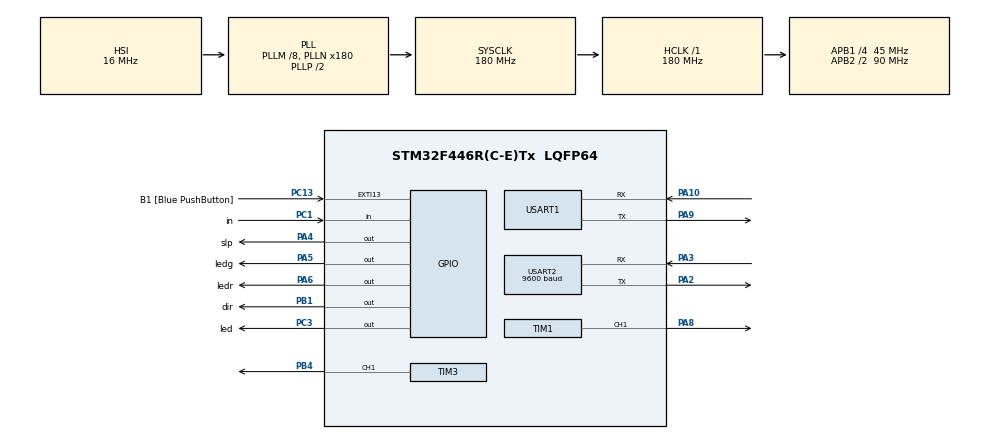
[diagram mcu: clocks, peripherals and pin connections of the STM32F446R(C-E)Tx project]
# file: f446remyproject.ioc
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Mcu.Family=STM32F4
Mcu.Name=STM32F446R(C-E)Tx
Mcu.Package=LQFP64
NVIC.PriorityGroup=NVIC_PRIORITYGROUP_0
PA10.Mode=Asynchronous
PA10.Signal=USART1_RX
PA13.GPIO_Label=TMS
PA13.Mode=Serial_Wire
PA13.Signal=SYS_JTMS-SWDIO
PA14.GPIO_Label=TCK
PA14.Mode=Serial_Wire
PA14.Signal=SYS_JTCK-SWCLK
PA2.Mode=Asynchronous
PA2.Signal=USART2_TX
PA3.Mode=Asynchronous
PA3.Signal=USART2_RX
PA4.GPIO_Label=slp
PA4.Signal=GPIO_Output
PA5.GPIO_Label=ledg
PA5.Signal=GPIO_Output
PA6.GPIO_Label=ledr
PA6.Signal=GPIO_Output
PA8.Signal=S_TIM1_CH1
PA9.Mode=Asynchronous
PA9.Signal=USART1_TX
PB1.GPIO_Label=dir
PB1.Signal=GPIO_Output
PB3.GPIO_Label=SWO
PB3.Signal=SYS_JTDO-SWO
PB4.Signal=S_TIM3_CH1
PC1.GPIO_Label=in
PC1.Signal=GPIO_Input
PC13.GPIO_Label=B1 [Blue PushButton]
PC13.GPIO_ModeDefaultEXTI=GPIO_MODE_IT_FALLING
PC13.Signal=GPXTI13
PC14-OSC32_IN.Mode=LSE-External-Oscillator
PC14-OSC32_IN.Signal=RCC_OSC32_IN
PC15-OSC32_OUT.Mode=LSE-External-Oscillator
PC15-OSC32_OUT.Signal=RCC_OSC32_OUT
PC3.GPIO_Label=led
PC3.Signal=GPIO_Output
PH0-OSC_IN.Mode=HSE-External-Oscillator
PH0-OSC_IN.Signal=RCC_OSC_IN
PH1-OSC_OUT.Mode=HSE-External-Oscillator
PH1-OSC_OUT.Signal=RCC_OSC_OUT
ProjectManager.HeapSize=0x200
ProjectManager.StackSize=0x400
ProjectManager.TargetToolchain=CMake
RCC.48MHZClocksFreq_Value=84000000
RCC.AHBFreq_Value=180000000
RCC.APB1CLKDivider=RCC_HCLK_DIV4
RCC.APB1Freq_Value=45000000
RCC.APB1TimFreq_Value=90000000
RCC.APB2CLKDivider=RCC_HCLK_DIV2
RCC.APB2Freq_Value=90000000
RCC.APB2TimFreq_Value=180000000
RCC.CortexFreq_Value=180000000
RCC.FLatency-AdvancedSettings=FLASH_LATENCY_5
RCC.HCLKFreq_Value=180000000
RCC.HSE_VALUE=8000000
RCC.HSI_VALUE=16000000
RCC.PLLM=8
RCC.PLLN=180
RCC.SYSCLKFreq_VALUE=180000000
RCC.SYSCLKSource=RCC_SYSCLKSOURCE_PLLCLK
RCC.USBFreq_Value=180000000
RCC.VCOOutputFreq_Value=360000000
SH.S_TIM1_CH1.0=TIM1_CH1,PWM Generation1 CH1
SH.S_TIM3_CH1.0=TIM3_CH1,PWM Generation1 CH1
TIM1.Channel-PWM\ Generation1\ CH1=TIM_CHANNEL_1
TIM1.Period=1000
TIM1.Prescaler=83
TIM1.Pulse-PWM\ Generation1\ CH1=25
TIM3.Channel-PWM\ Generation1\ CH1=TIM_CHANNEL_1
TIM3.Period=999
TIM3.Prescaler=8
USART1.VirtualMode=VM_ASYNC
USART2.BaudRate=9600
USART2.VirtualMode=VM_ASYNC
VP_TIM1_VS_ClockSourceINT.Mode=Internal
board=NUCLEO-F446RE

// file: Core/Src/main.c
/* USER CODE BEGIN Header */
/**
  ******************************************************************************
  * @file           : main.c
  * @brief          : Main program body
  ******************************************************************************
  * @attention
  *
  * Copyright (c) 2026 STMicroelectronics.
  * All rights reserved.
  *
  * This software is licensed under terms that can be found in the LICENSE file
  * in the root directory of this software component.
  * If no LICENSE file comes with this software, it is provided AS-IS.
  *
  ******************************************************************************
  */
/* USER CODE END Header */
#include "main.h"

/* USER CODE BEGIN Includes */
#include <stdio.h>
#include <stdarg.h>
/* USER CODE END Includes */

TIM_HandleTypeDef htim1;
TIM_HandleTypeDef htim3;

UART_HandleTypeDef huart1;
UART_HandleTypeDef huart2;

void SystemClock_Config(void);
static void MX_GPIO_Init(void);
static void MX_TIM1_Init(void);
static void MX_TIM3_Init(void);
static void MX_USART1_UART_Init(void);
static void MX_USART2_UART_Init(void);

/* USER CODE BEGIN 0 */
int uart_printf(const char* format, ...)
{
  char buffer[96];
  va_list args;
  va_start(args, format);
  int len = vsnprintf(buffer, sizeof(buffer), format, args);
  va_end(args);

  if(len > 0)
  {
    HAL_UART_Transmit(&huart2, (uint8_t*)buffer, len, HAL_MAX_DELAY);
  }

  return len;
}
/* USER CODE END 0 */

int main(void)
{

  /* MCU Configuration--------------------------------------------------------*/

  /* Reset of all peripherals, Initializes the Flash interface and the Systick. */
  HAL_Init();

  /* Configure the system clock */
  SystemClock_Config();

  /* Initialize all configured peripherals */
  MX_GPIO_Init();
  MX_TIM1_Init();
  MX_TIM3_Init();
  MX_USART1_UART_Init();
  MX_USART2_UART_Init();
  /* USER CODE BEGIN 2 */
  HAL_GPIO_WritePin(ledr_GPIO_Port, ledr_Pin, GPIO_PIN_SET);
  HAL_TIM_PWM_Start(&htim3, TIM_CHANNEL_1);
  __HAL_TIM_SET_COMPARE(&htim3, TIM_CHANNEL_1, 1000);

  HAL_GPIO_WritePin(dir_GPIO_Port, dir_Pin, GPIO_PIN_SET);
  HAL_GPIO_WritePin(slp_GPIO_Port, slp_Pin, GPIO_PIN_SET);

  char c = 'A';
  HAL_UART_Transmit(&huart1, (uint8_t*)&c, sizeof(c), HAL_MAX_DELAY);

  /* USER CODE END 2 */

  /* Infinite loop */
  /* USER CODE BEGIN WHILE */
  while (1)
  {

    // for(int counter1 = 0; counter1 <= 1000; counter1 += 10){
    //   __HAL_TIM_SET_COMPARE(&htim3, TIM_CHANNEL_1, counter1);
    //   HAL_Delay(10);
    // }
    // for(int counter2 = 1000; counter2 >= 0; counter2 -= 10){
    //   __HAL_TIM_SET_COMPARE(&htim3, TIM_CHANNEL_1, counter2);
    //   HAL_Delay(10);
    // }

    if (HAL_UART_Receive(&huart1, (uint8_t*)&c, sizeof(c), HAL_MAX_DELAY) == HAL_OK){

       uart_printf("receive%c\n", c);
       HAL_Delay(1000);
       c++;
       HAL_UART_Transmit(&huart1, (uint8_t*)&c, sizeof(c), HAL_MAX_DELAY);

    }

    // uart_printf("Input: %d\n", HAL_GPIO_ReadPin(in_GPIO_Port, in_Pin));
    /* USER CODE END WHILE */

  }
}

void SystemClock_Config(void)
{
  RCC_OscInitTypeDef RCC_OscInitStruct = {0};
  RCC_ClkInitTypeDef RCC_ClkInitStruct = {0};

  /** Configure the main internal regulator output voltage
  */
  __HAL_RCC_PWR_CLK_ENABLE();
  __HAL_PWR_VOLTAGESCALING_CONFIG(PWR_REGULATOR_VOLTAGE_SCALE1);

  /** Initializes the RCC Oscillators according to the specified parameters
  * in the RCC_OscInitTypeDef structure.
  */
  RCC_OscInitStruct.OscillatorType = RCC_OSCILLATORTYPE_HSI;
  RCC_OscInitStruct.HSIState = RCC_HSI_ON;
  RCC_OscInitStruct.HSICalibrationValue = RCC_HSICALIBRATION_DEFAULT;
  RCC_OscInitStruct.PLL.PLLState = RCC_PLL_ON;
  RCC_OscInitStruct.PLL.PLLSource = RCC_PLLSOURCE_HSI;
  RCC_OscInitStruct.PLL.PLLM = 8;
  RCC_OscInitStruct.PLL.PLLN = 180;
  RCC_OscInitStruct.PLL.PLLP = RCC_PLLP_DIV2;
  RCC_OscInitStruct.PLL.PLLQ = 2;
  RCC_OscInitStruct.PLL.PLLR = 2;
  if (HAL_RCC_OscConfig(&RCC_OscInitStruct) != HAL_OK)
  {
    Error_Handler();
  }

  /** Activate the Over-Drive mode
  */
  if (HAL_PWREx_EnableOverDrive() != HAL_OK)
  {
    Error_Handler();
  }

  /** Initializes the CPU, AHB and APB buses clocks
  */
  RCC_ClkInitStruct.ClockType = RCC_CLOCKTYPE_HCLK|RCC_CLOCKTYPE_SYSCLK
                              |RCC_CLOCKTYPE_PCLK1|RCC_CLOCKTYPE_PCLK2;
  RCC_ClkInitStruct.SYSCLKSource = RCC_SYSCLKSOURCE_PLLCLK;
  RCC_ClkInitStruct.AHBCLKDivider = RCC_SYSCLK_DIV1;
  RCC_ClkInitStruct.APB1CLKDivider = RCC_HCLK_DIV4;
  RCC_ClkInitStruct.APB2CLKDivider = RCC_HCLK_DIV2;

  if (HAL_RCC_ClockConfig(&RCC_ClkInitStruct, FLASH_LATENCY_5) != HAL_OK)
  {
    Error_Handler();
  }
}

static void MX_TIM1_Init(void)
{

  TIM_ClockConfigTypeDef sClockSourceConfig = {0};
  TIM_MasterConfigTypeDef sMasterConfig = {0};
  TIM_OC_InitTypeDef sConfigOC = {0};
  TIM_BreakDeadTimeConfigTypeDef sBreakDeadTimeConfig = {0};

  htim1.Instance = TIM1;
  htim1.Init.Prescaler = 83;
  htim1.Init.CounterMode = TIM_COUNTERMODE_UP;
  htim1.Init.Period = 1000;
  htim1.Init.ClockDivision = TIM_CLOCKDIVISION_DIV1;
  htim1.Init.RepetitionCounter = 0;
  htim1.Init.AutoReloadPreload = TIM_AUTORELOAD_PRELOAD_DISABLE;
  if (HAL_TIM_Base_Init(&htim1) != HAL_OK)
  {
    Error_Handler();
  }
  sClockSourceConfig.ClockSource = TIM_CLOCKSOURCE_INTERNAL;
  if (HAL_TIM_ConfigClockSource(&htim1, &sClockSourceConfig) != HAL_OK)
  {
    Error_Handler();
  }
  if (HAL_TIM_PWM_Init(&htim1) != HAL_OK)
  {
    Error_Handler();
  }
  sMasterConfig.MasterOutputTrigger = TIM_TRGO_RESET;
  sMasterConfig.MasterSlaveMode = TIM_MASTERSLAVEMODE_DISABLE;
  if (HAL_TIMEx_MasterConfigSynchronization(&htim1, &sMasterConfig) != HAL_OK)
  {
    Error_Handler();
  }
  sConfigOC.OCMode = TIM_OCMODE_PWM1;
  sConfigOC.Pulse = 25;
  sConfigOC.OCPolarity = TIM_OCPOLARITY_HIGH;
  sConfigOC.OCNPolarity = TIM_OCNPOLARITY_HIGH;
  sConfigOC.OCFastMode = TIM_OCFAST_DISABLE;
  sConfigOC.OCIdleState = TIM_OCIDLESTATE_RESET;
  sConfigOC.OCNIdleState = TIM_OCNIDLESTATE_RESET;
  if (HAL_TIM_PWM_ConfigChannel(&htim1, &sConfigOC, TIM_CHANNEL_1) != HAL_OK)
  {
    Error_Handler();
  }
  sBreakDeadTimeConfig.OffStateRunMode = TIM_OSSR_DISABLE;
  sBreakDeadTimeConfig.OffStateIDLEMode = TIM_OSSI_DISABLE;
  sBreakDeadTimeConfig.LockLevel = TIM_LOCKLEVEL_OFF;
  sBreakDeadTimeConfig.DeadTime = 0;
  sBreakDeadTimeConfig.BreakState = TIM_BREAK_DISABLE;
  sBreakDeadTimeConfig.BreakPolarity = TIM_BREAKPOLARITY_HIGH;
  sBreakDeadTimeConfig.AutomaticOutput = TIM_AUTOMATICOUTPUT_DISABLE;
  if (HAL_TIMEx_ConfigBreakDeadTime(&htim1, &sBreakDeadTimeConfig) != HAL_OK)
  {
    Error_Handler();
  }
  HAL_TIM_MspPostInit(&htim1);

}

static void MX_TIM3_Init(void)
{

  TIM_MasterConfigTypeDef sMasterConfig = {0};
  TIM_OC_InitTypeDef sConfigOC = {0};

  htim3.Instance = TIM3;
  htim3.Init.Prescaler = 8;
  htim3.Init.CounterMode = TIM_COUNTERMODE_UP;
  htim3.Init.Period = 999;
  htim3.Init.ClockDivision = TIM_CLOCKDIVISION_DIV1;
  htim3.Init.AutoReloadPreload = TIM_AUTORELOAD_PRELOAD_DISABLE;
  if (HAL_TIM_PWM_Init(&htim3) != HAL_OK)
  {
    Error_Handler();
  }
  sMasterConfig.MasterOutputTrigger = TIM_TRGO_RESET;
  sMasterConfig.MasterSlaveMode = TIM_MASTERSLAVEMODE_DISABLE;
  if (HAL_TIMEx_MasterConfigSynchronization(&htim3, &sMasterConfig) != HAL_OK)
  {
    Error_Handler();
  }
  sConfigOC.OCMode = TIM_OCMODE_PWM1;
  sConfigOC.Pulse = 0;
  sConfigOC.OCPolarity = TIM_OCPOLARITY_HIGH;
  sConfigOC.OCFastMode = TIM_OCFAST_DISABLE;
  if (HAL_TIM_PWM_ConfigChannel(&htim3, &sConfigOC, TIM_CHANNEL_1) != HAL_OK)
  {
    Error_Handler();
  }
  HAL_TIM_MspPostInit(&htim3);

}

static void MX_USART1_UART_Init(void)
{

  huart1.Instance = USART1;
  huart1.Init.BaudRate = 115200;
  huart1.Init.WordLength = UART_WORDLENGTH_8B;
  huart1.Init.StopBits = UART_STOPBITS_1;
  huart1.Init.Parity = UART_PARITY_NONE;
  huart1.Init.Mode = UART_MODE_TX_RX;
  huart1.Init.HwFlowCtl = UART_HWCONTROL_NONE;
  huart1.Init.OverSampling = UART_OVERSAMPLING_16;
  if (HAL_UART_Init(&huart1) != HAL_OK)
  {
    Error_Handler();
  }

}

static void MX_USART2_UART_Init(void)
{

  huart2.Instance = USART2;
  huart2.Init.BaudRate = 9600;
  huart2.Init.WordLength = UART_WORDLENGTH_8B;
  huart2.Init.StopBits = UART_STOPBITS_1;
  huart2.Init.Parity = UART_PARITY_NONE;
  huart2.Init.Mode = UART_MODE_TX_RX;
  huart2.Init.HwFlowCtl = UART_HWCONTROL_NONE;
  huart2.Init.OverSampling = UART_OVERSAMPLING_16;
  if (HAL_UART_Init(&huart2) != HAL_OK)
  {
    Error_Handler();
  }

}

static void MX_GPIO_Init(void)
{
  GPIO_InitTypeDef GPIO_InitStruct = {0};

  /* GPIO Ports Clock Enable */
  __HAL_RCC_GPIOC_CLK_ENABLE();
  __HAL_RCC_GPIOH_CLK_ENABLE();
  __HAL_RCC_GPIOA_CLK_ENABLE();
  __HAL_RCC_GPIOB_CLK_ENABLE();

  /*Configure GPIO pin Output Level */
  HAL_GPIO_WritePin(led_GPIO_Port, led_Pin, GPIO_PIN_RESET);

  /*Configure GPIO pin Output Level */
  HAL_GPIO_WritePin(GPIOA, slp_Pin|ledg_Pin|ledr_Pin, GPIO_PIN_RESET);

  /*Configure GPIO pin Output Level */
  HAL_GPIO_WritePin(dir_GPIO_Port, dir_Pin, GPIO_PIN_RESET);

  /*Configure GPIO pin : B1_Pin */
  GPIO_InitStruct.Pin = B1_Pin;
  GPIO_InitStruct.Mode = GPIO_MODE_IT_FALLING;
  GPIO_InitStruct.Pull = GPIO_NOPULL;
  HAL_GPIO_Init(B1_GPIO_Port, &GPIO_InitStruct);

  /*Configure GPIO pin : in_Pin */
  GPIO_InitStruct.Pin = in_Pin;
  GPIO_InitStruct.Mode = GPIO_MODE_INPUT;
  GPIO_InitStruct.Pull = GPIO_NOPULL;
  HAL_GPIO_Init(in_GPIO_Port, &GPIO_InitStruct);

  /*Configure GPIO pin : led_Pin */
  GPIO_InitStruct.Pin = led_Pin;
  GPIO_InitStruct.Mode = GPIO_MODE_OUTPUT_PP;
  GPIO_InitStruct.Pull = GPIO_NOPULL;
  GPIO_InitStruct.Speed = GPIO_SPEED_FREQ_LOW;
  HAL_GPIO_Init(led_GPIO_Port, &GPIO_InitStruct);

  /*Configure GPIO pins : slp_Pin ledg_Pin ledr_Pin */
  GPIO_InitStruct.Pin = slp_Pin|ledg_Pin|ledr_Pin;
  GPIO_InitStruct.Mode = GPIO_MODE_OUTPUT_PP;
  GPIO_InitStruct.Pull = GPIO_NOPULL;
  GPIO_InitStruct.Speed = GPIO_SPEED_FREQ_LOW;
  HAL_GPIO_Init(GPIOA, &GPIO_InitStruct);

  /*Configure GPIO pin : dir_Pin */
  GPIO_InitStruct.Pin = dir_Pin;
  GPIO_InitStruct.Mode = GPIO_MODE_OUTPUT_PP;
  GPIO_InitStruct.Pull = GPIO_NOPULL;
  GPIO_InitStruct.Speed = GPIO_SPEED_FREQ_LOW;
  HAL_GPIO_Init(dir_GPIO_Port, &GPIO_InitStruct);

}

void Error_Handler(void)
{
  __disable_irq();
  while (1)
  {
  }
}
